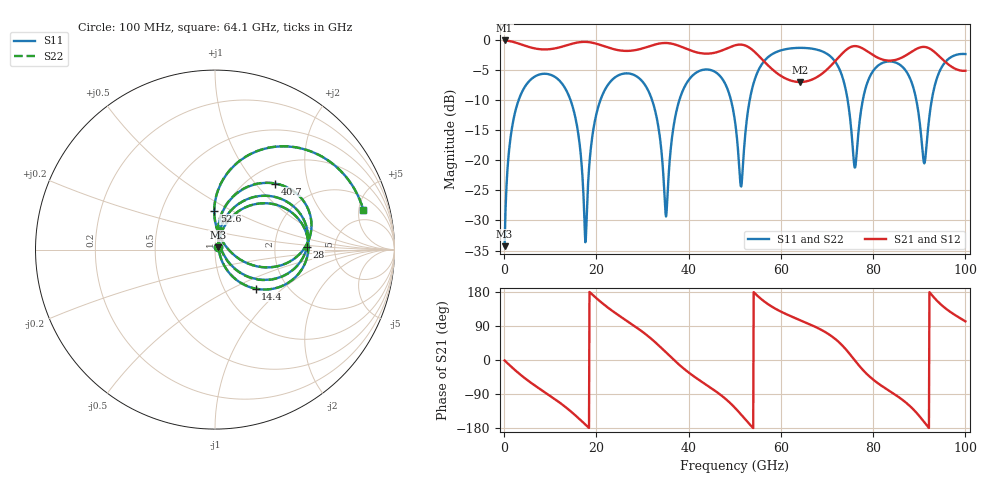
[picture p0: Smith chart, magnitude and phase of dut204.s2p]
! Touchstone file exported from HFSS 2026.1.0
!  File:  C:/ffzhzh/LocalFiles/Ansys_Project_Files/temp_train_TSV_RDL_204_1783659521_26216.aedt
!  Generated:  01:07:53 PM Jul 10, 2026
!  Design:  TSV_RDL
!  Project:  temp_train_TSV_RDL_204_1783659521_26216
! Variables:
!  h_bsmrdl = 4.56um
!  h_ox = 20um
!  h_rdl = 5um
!  h_sub = 52.4um
!  h_tmrdl = 3.75um
!  h_tsv = 52.4um
!  h_via = 3um
!  l_bsmrdl = 446.69um
!  l_sub = 3354.44um
!  l_tmrdl = 374.77um
!  m_sub = 200um
!  pitch = 49.16um
!  r_tsv = 13.5um
!  s_tmrdl = 10um
!  w_bsmrdl = 24.04um
!  w_sub = 500um
!  w_tmrdl = 14.39um
!  x_tsv_center1 = 381.965um
!  x_tsv_center2 = 852.695um
!  x_tsv_center3 = 1241.855um
!  x_tsv_center4 = 1712.585um
!  x_tsv_center5 = 2101.745um
!  x_tsv_center6 = 2572.475um
# GHz S MA R 50.000000
! Terminal data exported
! Port[1] = TM_RDL1_1_T1
! Port[2] = TM_RDL5_1_T1
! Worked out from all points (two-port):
!   1000 points, 100 MHz to 100 GHz, reference 50 ohm
!   highest |S21| = -0.13 dB at 100 MHz (marker M1); lowest = -7.0 dB at 64.2 GHz (marker M2)
!   |S21| within 3 dB of the highest: start of sweep to 55.75 GHz; 72.28 GHz to 81.41 GHz (9.132 GHz wide, 11.9 % of centre) (the widest 2 of 3)
!   lowest |S11| = -34.3 dB at 100 MHz (marker M3), VSWR 1.04, Z = 51.5 + j1.22 ohm
!   |S11| at or under -10 dB: 14.38 GHz to 20.88 GHz (6.506 GHz wide, 36.9 % of centre); 32.06 GHz to 38 GHz (5.934 GHz wide, 16.9 % of centre); 49.17 GHz to 53.24 GHz (4.077 GHz wide, 7.96 % of centre) (the widest 3 of 6)
!   |S22| runs from -34.3 to -1.4 dB; largest |S21 - S12| = 4.5e-13
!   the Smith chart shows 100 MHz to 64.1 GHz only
!   S11 on the Smith chart (normalised r, x): 100 MHz: 1.03, +0.02; 14.4 GHz: 1.40, -0.68; 28 GHz: 3.10, +0.12; 40.7 GHz: 1.30, +1.27; 52.6 GHz: 0.90, +0.41; 64.1 GHz: 3.46, +5.63
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0.1  0.01936 37.7  0.9849 -1.2  0.9849 -1.2  0.01936 37.7
! Gamma 0 0 0 0
! Port Impedance 50 0 50 0
4.1  0.3831 42.4  0.9015 -44.4  0.9015 -44.4  0.3831 42.4
14.4  0.3146 -43.8  0.9173 -135.1  0.9173 -135.1  0.3146 -43.7
16.8  0.09155 -60.0  0.9567 -161.1  0.9567 -161.1  0.0917 -59.7
17.7  0.02183 26.6  0.9583 -171.4  0.9583 -171.4  0.02236 26.1
20.8  0.3096 60.2  0.9051 154.7  0.9051 154.7  0.3097 60.1
28  0.5125 1.6  0.8137 91.8  0.8137 91.8  0.5125 1.5
33.4  0.1927 -42.1  0.9246 39.7  0.9246 39.7  0.1926 -42.7
35.1  0.03413 20.1  0.9384 20.0  0.9384 20.0  0.03204 19.8
40.7  0.4974 47.7  0.8066 -39.4  0.8066 -39.4  0.4972 47.9
50.1  0.203 -22.9  0.8982 -126.9  0.8982 -126.9  0.203 -22.9
51.4  0.06048 39.0  0.9097 -144.3  0.9097 -144.3  0.06004 39.0
52.6  0.216 91.0  0.8834 -161.1  0.8834 -161.1  0.2156 91.2
56.8  0.6921 56.2  0.6341 150.8  0.6341 150.8  0.6918 56.4
64.1  0.8552 14.8  0.4452 105.5  0.4452 105.5  0.855 14.9
64.2  0.8553 14.3  0.4452 105.0  0.4452 105.0  0.8551 14.5
66.7  0.8424 2.4  0.4657 91.9  0.4657 91.9  0.8422 2.5
72.9  0.5455 -39.6  0.7399 43.4  0.7399 43.4  0.5454 -39.4
76  0.08698 -5.9  0.8846 -0.5  0.8846 -0.5  0.08676 -5.8
83.4  0.6594 8.6  0.6701 -80.6  0.6701 -80.6  0.6592 8.9
91.6  0.1362 53.7  0.8641 -171.8  0.8641 -171.8  0.1376 53.4
100  0.7597 12.2  0.5522 102.0  0.5522 102.0  0.7597 12.3
